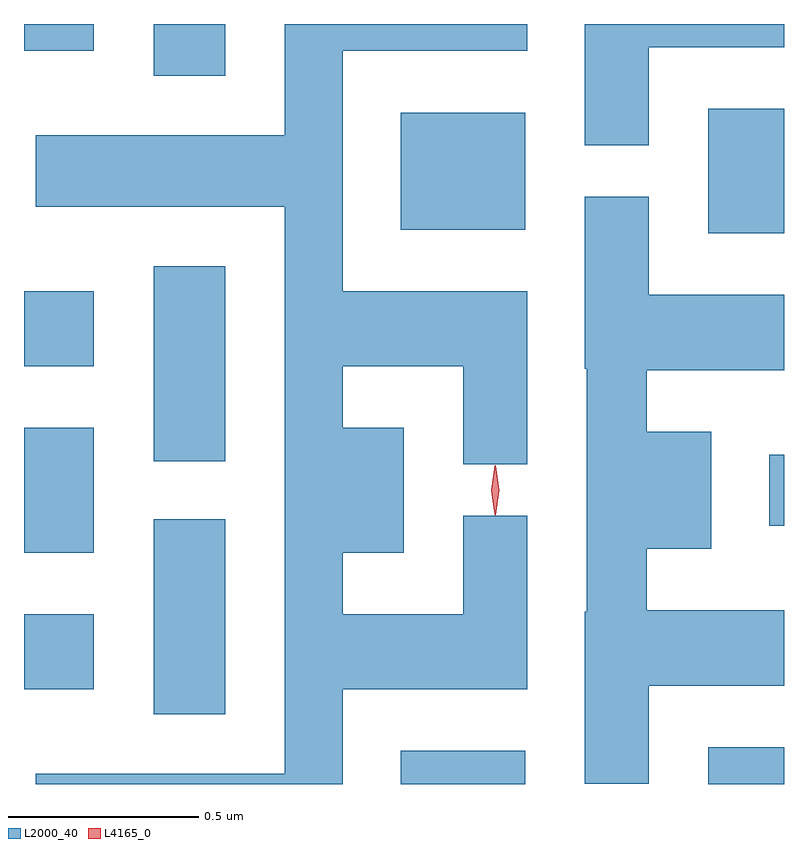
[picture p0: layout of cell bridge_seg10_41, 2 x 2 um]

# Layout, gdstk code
import gdstk
lib = gdstk.Library(unit=1e-6, precision=1e-09)
def R(c, l, rs):  # rectangles x0, y0, x1, y1
    for r in rs: c.add(gdstk.rectangle(r[:2], r[2:], *l))
def P(c, l, *ps):  # polygons
    for p in ps: c.add(gdstk.Polygon(p, *l))
L2000_40 = (2000, 40)
L4165_0 = (4165, 0)

bridge_seg10_41 = lib.new_cell('bridge_seg10_41')
R(bridge_seg10_41, L2000_40, [(1749.886,2168.397,1750.214,2168.484), (1750.696,2168.397,1750.895,2168.494), (1749.236,2168.581,1749.424,2169.094), (1748.895,2168.646,1749.079,2168.844), (1748.895,2169.006,1749.079,2169.334), (1750.856,2169.076,1750.895,2169.264), (1749.236,2169.246,1749.424,2169.759), (1748.895,2169.496,1749.079,2169.694), (1750.696,2169.846,1750.895,2170.174), (1749.886,2169.856,1750.214,2170.164), (1749.236,2170.261,1749.424,2170.397), (1748.895,2170.326,1749.079,2170.397)])
P(bridge_seg10_41, L2000_40, [(1749.734,2168.646),(1750.219,2168.646),(1750.219,2169.103),(1750.051,2169.103),(1750.051,2168.844),(1749.734,2168.844),(1749.734,2169.006),(1749.894,2169.006),(1749.894,2169.334),(1749.734,2169.334),(1749.734,2169.496),(1750.051,2169.496),(1750.051,2169.238),(1750.219,2169.238),(1750.219,2169.694),(1749.734,2169.694),(1749.734,2170.326),(1750.219,2170.326),(1750.219,2170.397),(1749.581,2170.397),(1749.581,2170.104),(1748.926,2170.104),(1748.926,2169.916),(1749.581,2169.916),(1749.581,2168.424),(1748.926,2168.424),(1748.926,2168.397),(1749.734,2168.397)],
  [(1750.539,2170.336),(1750.895,2170.336),(1750.895,2170.397),(1750.371,2170.397),(1750.371,2170.078),(1750.539,2170.078)],
  [(1750.539,2168.656),(1750.895,2168.656),(1750.895,2168.854),(1750.534,2168.854),(1750.534,2169.016),(1750.704,2169.016),(1750.704,2169.324),(1750.534,2169.324),(1750.534,2169.486),(1750.895,2169.486),(1750.895,2169.684),(1750.539,2169.684),(1750.539,2169.943),(1750.371,2169.943),(1750.371,2169.49),(1750.376,2169.49),(1750.376,2168.85),(1750.371,2168.85),(1750.371,2168.398),(1750.539,2168.398)])
P(bridge_seg10_41, L4165_0, [(1750.135,2169.104),(1750.134,2169.105),(1750.125,2169.17),(1750.134,2169.235),(1750.135,2169.236),(1750.136,2169.235),(1750.145,2169.17),(1750.136,2169.105)])

lib.write_gds('bridge_seg10_41.gds')
